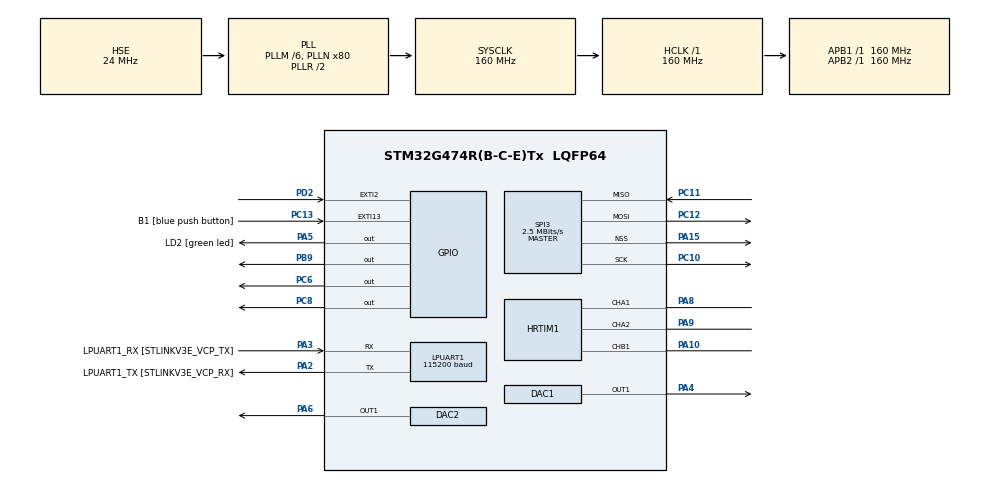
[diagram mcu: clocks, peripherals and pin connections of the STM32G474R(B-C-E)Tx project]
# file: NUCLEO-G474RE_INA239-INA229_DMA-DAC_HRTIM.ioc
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DAC1.DAC_Trigger_OUT1-DAC_OUT1=DAC_TRIGGER_T6_TRGO
Dma.DAC1_CH1.3.Direction=DMA_MEMORY_TO_PERIPH
Dma.DAC1_CH1.3.EventEnable=DISABLE
Dma.DAC1_CH1.3.Instance=DMA1_Channel4
Dma.DAC1_CH1.3.MemDataAlignment=DMA_MDATAALIGN_HALFWORD
Dma.DAC1_CH1.3.MemInc=DMA_MINC_ENABLE
Dma.DAC1_CH1.3.Mode=DMA_CIRCULAR
Dma.DAC1_CH1.3.PeriphDataAlignment=DMA_PDATAALIGN_WORD
Dma.DAC1_CH1.3.PeriphInc=DMA_PINC_DISABLE
Dma.DAC1_CH1.3.Polarity=HAL_DMAMUX_REQ_GEN_RISING
Dma.DAC1_CH1.3.Priority=DMA_PRIORITY_LOW
Dma.DAC1_CH1.3.RequestNumber=1
Dma.DAC1_CH1.3.SignalID=NONE
Dma.DAC1_CH1.3.SyncEnable=DISABLE
Dma.DAC1_CH1.3.SyncPolarity=HAL_DMAMUX_SYNC_NO_EVENT
Dma.DAC1_CH1.3.SyncRequestNumber=1
Dma.DAC1_CH1.3.SyncSignalID=NONE
Dma.LPUART1_RX.2.Direction=DMA_PERIPH_TO_MEMORY
Dma.LPUART1_RX.2.EventEnable=DISABLE
Dma.LPUART1_RX.2.Instance=DMA1_Channel3
Dma.LPUART1_RX.2.MemDataAlignment=DMA_MDATAALIGN_BYTE
Dma.LPUART1_RX.2.MemInc=DMA_MINC_ENABLE
Dma.LPUART1_RX.2.Mode=DMA_CIRCULAR
Dma.LPUART1_RX.2.PeriphDataAlignment=DMA_PDATAALIGN_BYTE
Dma.LPUART1_RX.2.PeriphInc=DMA_PINC_DISABLE
Dma.LPUART1_RX.2.Polarity=HAL_DMAMUX_REQ_GEN_RISING
Dma.LPUART1_RX.2.Priority=DMA_PRIORITY_LOW
Dma.LPUART1_RX.2.RequestNumber=1
Dma.LPUART1_RX.2.SignalID=NONE
Dma.LPUART1_RX.2.SyncEnable=DISABLE
Dma.LPUART1_RX.2.SyncPolarity=HAL_DMAMUX_SYNC_NO_EVENT
Dma.LPUART1_RX.2.SyncRequestNumber=1
Dma.LPUART1_RX.2.SyncSignalID=NONE
Dma.Request0=SPI3_TX
Dma.Request1=SPI3_RX
Dma.Request2=LPUART1_RX
Dma.Request3=DAC1_CH1
Dma.SPI3_RX.1.Direction=DMA_PERIPH_TO_MEMORY
Dma.SPI3_RX.1.EventEnable=DISABLE
Dma.SPI3_RX.1.Instance=DMA1_Channel1
Dma.SPI3_RX.1.MemDataAlignment=DMA_MDATAALIGN_BYTE
Dma.SPI3_RX.1.MemInc=DMA_MINC_ENABLE
Dma.SPI3_RX.1.Mode=DMA_NORMAL
Dma.SPI3_RX.1.PeriphDataAlignment=DMA_PDATAALIGN_BYTE
Dma.SPI3_RX.1.PeriphInc=DMA_PINC_DISABLE
Dma.SPI3_RX.1.Polarity=HAL_DMAMUX_REQ_GEN_RISING
Dma.SPI3_RX.1.Priority=DMA_PRIORITY_HIGH
Dma.SPI3_RX.1.RequestNumber=1
Dma.SPI3_RX.1.SignalID=NONE
Dma.SPI3_RX.1.SyncEnable=DISABLE
Dma.SPI3_RX.1.SyncPolarity=HAL_DMAMUX_SYNC_NO_EVENT
Dma.SPI3_RX.1.SyncRequestNumber=1
Dma.SPI3_RX.1.SyncSignalID=NONE
Dma.SPI3_TX.0.Direction=DMA_MEMORY_TO_PERIPH
Dma.SPI3_TX.0.EventEnable=DISABLE
Dma.SPI3_TX.0.Instance=DMA1_Channel2
Dma.SPI3_TX.0.MemDataAlignment=DMA_MDATAALIGN_BYTE
Dma.SPI3_TX.0.MemInc=DMA_MINC_ENABLE
Dma.SPI3_TX.0.Mode=DMA_NORMAL
Dma.SPI3_TX.0.PeriphDataAlignment=DMA_PDATAALIGN_BYTE
Dma.SPI3_TX.0.PeriphInc=DMA_PINC_DISABLE
Dma.SPI3_TX.0.Polarity=HAL_DMAMUX_REQ_GEN_RISING
Dma.SPI3_TX.0.Priority=DMA_PRIORITY_LOW
Dma.SPI3_TX.0.RequestNumber=1
Dma.SPI3_TX.0.SignalID=NONE
Dma.SPI3_TX.0.SyncEnable=DISABLE
Dma.SPI3_TX.0.SyncPolarity=HAL_DMAMUX_SYNC_NO_EVENT
Dma.SPI3_TX.0.SyncRequestNumber=1
Dma.SPI3_TX.0.SyncSignalID=NONE
HRTIM1.CompareUnit1-MasterTimer=HRTIM_COMPAREUNIT_1
HRTIM1.CompareUnit1-Output_TA1TA2=HRTIM_COMPAREUNIT_1
HRTIM1.CompareUnit1-Output_TB1=HRTIM_COMPAREUNIT_1
HRTIM1.CompareUnit2-MasterTimer=HRTIM_COMPAREUNIT_2
HRTIM1.CompareUnit2-Output_TA1TA2=HRTIM_COMPAREUNIT_2
HRTIM1.CompareUnit3-Output_TA1TA2=HRTIM_COMPAREUNIT_3
HRTIM1.CompareUnit4-Output_TA1TA2=HRTIM_COMPAREUNIT_4
HRTIM1.Event_EEV1=__NULL
HRTIM1.InterleavedMode-MasterTimer=HRTIM_INTERLEAVED_MODE_DUAL
HRTIM1.InterleavedMode-Output_TA1TA2=HRTIM_INTERLEAVED_MODE_QUAD
HRTIM1.InterleavedMode-Output_TB1=HRTIM_INTERLEAVED_MODE_DUAL
HRTIM1.NumberResetSource1-Output_TA1TA2=1
HRTIM1.NumberResetSource1-Output_TB1=1
HRTIM1.NumberResetSource2_TA=1
HRTIM1.NumberSetSource1-Output_TA1TA2=1
HRTIM1.NumberSetSource1-Output_TB1=1
HRTIM1.NumberSetSource2_TA=1
HRTIM1.Periode_MASTER=51200
HRTIM1.Periode_TA=51200
HRTIM1.Periode_TB=51200
HRTIM1.PrescalerRatio_MASTER=HRTIM_PRESCALERRATIO_MUL32
HRTIM1.PrescalerRatio_TA=HRTIM_PRESCALERRATIO_MUL32
HRTIM1.ResetOutput1_Source1-Output_TA1TA2=HRTIM_OUTPUTRESET_TIMCMP1
HRTIM1.ResetOutput1_Source1-Output_TB1=HRTIM_OUTPUTRESET_TIMCMP1
HRTIM1.ResetOutput2_Source1-Output_TA1TA2=HRTIM_OUTPUTRESET_TIMCMP3
HRTIM1.SetOutput1_Source1-Output_TA1TA2=HRTIM_OUTPUTSET_TIMPER
HRTIM1.SetOutput1_Source1-Output_TB1=HRTIM_OUTPUTSET_TIMPER
HRTIM1.SetOutput2_Source1-Output_TA1TA2=HRTIM_OUTPUTSET_TIMCMP2
HRTIM1.UpDownMode-Output_TA1TA2=HRTIM_TIMERUPDOWNMODE_UP
HRTIM1.UpDownMode-Output_TB1=HRTIM_TIMERUPDOWNMODE_UP
LPUART1.BaudRate=115200
Mcu.Family=STM32G4
Mcu.Name=STM32G474R(B-C-E)Tx
Mcu.Package=LQFP64
NVIC.DMA1_Channel1_IRQn=true\:0\:0\:false\:false\:true\:false\:true\:true
NVIC.DMA1_Channel2_IRQn=true\:1\:0\:true\:false\:true\:false\:true\:true
NVIC.DMA1_Channel3_IRQn=true\:2\:0\:true\:false\:true\:false\:true\:true
NVIC.DMA1_Channel4_IRQn=true\:0\:0\:false\:false\:false\:false\:false\:true
NVIC.EXTI15_10_IRQn=true\:0\:0\:false\:false\:true\:true\:true\:true
NVIC.EXTI2_IRQn=true\:1\:0\:true\:false\:true\:true\:true\:true
NVIC.LPUART1_IRQn=true\:0\:0\:false\:false\:true\:true\:true\:true
NVIC.PriorityGroup=NVIC_PRIORITYGROUP_4
PA10.Mode=Output_TB1
PA10.Signal=HRTIM1_CHB1
PA13.GPIO_Label=T_SWDIO
PA13.Mode=Trace_Asynchronous_SW
PA13.Signal=SYS_JTMS-SWDIO
PA14.GPIO_Label=T_SWCLK
PA14.Mode=Trace_Asynchronous_SW
PA14.Signal=SYS_JTCK-SWCLK
PA15.Mode=NSS_Signal_Hard_Output
PA15.Signal=SPI3_NSS
PA2.GPIO_Label=LPUART1_TX [STLINKV3E_VCP_RX]
PA2.Mode=Asynchronous
PA2.Signal=LPUART1_TX
PA3.GPIO_Label=LPUART1_RX [STLINKV3E_VCP_TX]
PA3.Mode=Asynchronous
PA3.Signal=LPUART1_RX
PA4.Signal=COMP_DAC11_group
PA5.GPIO_Label=LD2 [green led]
PA5.Signal=GPIO_Output
PA6.Signal=COMP_DAC21_group
PA8.Mode=Output_TA1TA2
PA8.Signal=HRTIM1_CHA1
PA9.Mode=Output_TA1TA2
PA9.Signal=HRTIM1_CHA2
PB3.GPIO_Label=T_SWO
PB3.Mode=Trace_Asynchronous_SW
PB3.Signal=SYS_JTDO-SWO
PB9.Signal=GPIO_Output
PC10.Mode=Full_Duplex_Master
PC10.Signal=SPI3_SCK
PC11.Mode=Full_Duplex_Master
PC11.Signal=SPI3_MISO
PC12.Mode=Full_Duplex_Master
PC12.Signal=SPI3_MOSI
PC13.GPIO_Label=B1 [blue push button]
PC13.Signal=GPXTI13
PC14-OSC32_IN.Mode=LSE-External-Oscillator
PC14-OSC32_IN.Signal=RCC_OSC32_IN
PC15-OSC32_OUT.Mode=LSE-External-Oscillator
PC15-OSC32_OUT.Signal=RCC_OSC32_OUT
PC6.Signal=GPIO_Output
PC8.Signal=GPIO_Output
PD2.GPIO_ModeDefaultEXTI=GPIO_MODE_IT_FALLING
PD2.Signal=GPXTI2
PF0-OSC_IN.Mode=HSE-External-Oscillator
PF0-OSC_IN.Signal=RCC_OSC_IN
PF1-OSC_OUT.Mode=HSE-External-Oscillator
PF1-OSC_OUT.Signal=RCC_OSC_OUT
ProjectManager.HeapSize=0x200
ProjectManager.StackSize=0x400
ProjectManager.TargetToolchain=STM32CubeIDE
RCC.ADC12Freq_Value=160000000
RCC.ADC345Freq_Value=160000000
RCC.AHBFreq_Value=160000000
RCC.APB1Freq_Value=160000000
RCC.APB1TimFreq_Value=160000000
RCC.APB2Freq_Value=160000000
RCC.APB2TimFreq_Value=160000000
RCC.CortexFreq_Value=160000000
RCC.EXTERNAL_CLOCK_VALUE=12288000
RCC.HCLKFreq_Value=160000000
RCC.HSE_VALUE=24000000
RCC.HSI48_VALUE=48000000
RCC.HSI_VALUE=16000000
RCC.PLLM=RCC_PLLM_DIV6
RCC.PLLN=80
RCC.PLLSourceVirtual=RCC_PLLSOURCE_HSE
RCC.RTCClockSelection=RCC_RTCCLKSOURCE_LSE
RCC.SYSCLKFreq_VALUE=160000000
RCC.SYSCLKSource=RCC_SYSCLKSOURCE_PLLCLK
RCC.USBFreq_Value=160000000
RCC.VCOOutputFreq_Value=320000000
SH.COMP_DAC11_group.0=DAC1_OUT1,DAC_OUT1
SH.COMP_DAC21_group.0=DAC2_OUT1,DAC_OUT1
SPI3.BaudRatePrescaler=SPI_BAUDRATEPRESCALER_64
SPI3.CLKPolarity=SPI_POLARITY_HIGH
SPI3.CalculateBaudRate=2.5 MBits/s
SPI3.DataSize=SPI_DATASIZE_8BIT
SPI3.Direction=SPI_DIRECTION_2LINES
SPI3.Mode=SPI_MODE_MASTER
SPI3.NSSPMode=SPI_NSS_PULSE_DISABLE
SPI3.VirtualNSS=VM_NSSHARD
SPI3.VirtualType=VM_MASTER
TIM6.AutoReloadPreload=TIM_AUTORELOAD_PRELOAD_ENABLE
TIM6.PeriodNoDither=10-1
TIM6.Prescaler=16-1
TIM6.TIM_MasterOutputTrigger=TIM_TRGO_UPDATE
VP_HRTIM1_VS_hrtimMasterTimerNoOutput.Mode=MasterTimer
VP_SYS_VS_DBSignals.Mode=DisableDeadBatterySignals
VP_TIM6_VS_ClockSourceINT.Mode=Enable_Timer
board=NUCLEO-G474RE

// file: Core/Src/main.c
/* USER CODE BEGIN Header */
/**
 ******************************************************************************
 * @file           : main.c
 * @brief          : Main program body
 ******************************************************************************
 * @attention
 *
 * Copyright (c) 2022 STMicroelectronics.
 * All rights reserved.
 *
 * This software is licensed under terms that can be found in the LICENSE file
 * in the root directory of this software component.
 * If no LICENSE file comes with this software, it is provided AS-IS.
 *
 ******************************************************************************
 */
/* USER CODE END Header */
#include "main.h"

/* USER CODE BEGIN Includes */

#include "ina229.h"
#include "VT_INA229.h"
#include <stdio.h>
#include "pulsating_sine.h"
#include "stm32g4xx_hal_dma.h"

/* USER CODE END Includes */

DAC_HandleTypeDef hdac1;
DAC_HandleTypeDef hdac2;
DMA_HandleTypeDef hdma_dac1_ch1;

HRTIM_HandleTypeDef hhrtim1;

UART_HandleTypeDef hlpuart1;
DMA_HandleTypeDef hdma_lpuart1_rx;

SPI_HandleTypeDef hspi3;
DMA_HandleTypeDef hdma_spi3_tx;
DMA_HandleTypeDef hdma_spi3_rx;

TIM_HandleTypeDef htim6;

/* USER CODE BEGIN PV */

/* Buffer used for transmission */
uint8_t aTxBuffer[21];

/* Buffer used for reception */
uint8_t aRxBuffer[21];

// for 0V - 160V variable output PWM
volatile uint16_t duty_cycle = 0;
uint16_t duty_cycle_increase = 0;

// push button
uint8_t button_pressed = 0;

// SPI transmit data INA239/229
extern uint8_t INA229_msg_lenght_cntr, INA229_msg_lenght_cntr_old;
extern uint8_t INA229_send_packet[70], INA229_send_packet_decoder[70];
extern uint8_t INA229_recv_packet[70], INA229_recv_packet_decoder[70];

uint8_t INA229_decodedAddress, INA229_decoded_Reg, INA229_decoded_Command;

extern uint16_t INA229_REG_CONFIG_val;
extern uint16_t INA229_REG_ADC_CONFIG_val;
extern uint16_t INA229_REG_SHUNT_CAL_val;
extern uint16_t INA229_REG_SHUNT_TEMPCO_val;
extern uint32_t INA229_REG_VSHUNT_val;
extern uint32_t INA229_REG_VBUS_val;
extern uint16_t INA229_REG_DIETEMP_val;
extern uint32_t INA229_REG_CURRENT_val;
extern uint32_t INA229_REG_POWER_val;
extern uint64_t INA229_REG_ENERGY_val;
extern uint64_t INA229_REG_CHARGE_val;
extern uint16_t INA229_REG_DIAG_ALRT_val;
extern uint16_t INA229_REG_SOVL_val;
extern uint16_t INA229_REG_SUVL_val;
extern uint16_t INA229_REG_BOVL_val;
extern uint16_t INA229_REG_BUVL_val;
extern uint16_t INA229_REG_TEMP_LIMIT_val;
extern uint16_t INA229_REG_PWR_LIMIT_val;
extern uint16_t INA229_REG_MANUFACTURER_ID_val;
extern uint16_t INA229_REG_DEVICE_ID_val;

volatile uint8_t HAL_SPI_TxRxCpltCallback_finished = 1;

uint8_t INA239decodedAddress, INA239decodedReg, INA239decodedCommand;

// UART Variables
uint8_t UartRxBuffer[1];

/* USER CODE END PV */

void SystemClock_Config(void);
static void MX_GPIO_Init(void);
static void MX_DMA_Init(void);
static void MX_SPI3_Init(void);
static void MX_LPUART1_UART_Init(void);
static void MX_DAC1_Init(void);
static void MX_TIM6_Init(void);
static void MX_DAC2_Init(void);
static void MX_HRTIM1_Init(void);
/* USER CODE BEGIN PFP */

void SPI_DMA_TXRX(void);
extern void VT_INA229_ReadAllReg(void);
extern void VT_INA229_ReadRegPartial1(void);
extern void VT_INA229_ResetVars(void);
extern uint16_t combine_2_bytes(uint16_t high_byte, uint16_t low_byte);
extern uint32_t combine_3_bytes(uint32_t high_byte, uint32_t mid_byte, uint32_t low_byte);
extern uint64_t combine_5_bytes(uint64_t highhigh_byte, uint64_t high_byte, uint64_t mid_byte, uint64_t low_byte, uint64_t lowlow_byte);

/* USER CODE END PFP */

int main(void)
{

  /* MCU Configuration--------------------------------------------------------*/

  /* Reset of all peripherals, Initializes the Flash interface and the Systick. */
  HAL_Init();

  /* Configure the system clock */
  SystemClock_Config();

  /* Initialize all configured peripherals */
  MX_GPIO_Init();
  MX_DMA_Init();
  MX_SPI3_Init();
  MX_LPUART1_UART_Init();
  MX_DAC1_Init();
  MX_TIM6_Init();
  MX_DAC2_Init();
  MX_HRTIM1_Init();
  /* USER CODE BEGIN 2 */

	printf("Starting >> NUCLEO-G474RE_INA239-INA229 \n");

	for(uint16_t cntr = 0; cntr < 10000; cntr++)
	{
		pulsating_sine[cntr] = pulsating_sine[cntr] - 4095;
	}

//	for(uint16_t cntr = 0; cntr < 10000; cntr++)
//	{
//		printf("pulsating_sine [%d] = %d \n", cntr, pulsating_sine[cntr]);
//	}

	if(HAL_OK != HAL_DAC_Start_DMA(&hdac1, DAC_CHANNEL_1,
			(uint32_t*)pulsating_sine, 10000, DAC_ALIGN_12B_R))
	{
		/* Start DMA Error */
		Error_Handler();
	}

	/*##- Enable TIM peripheral counter ######################################*/
	if(HAL_OK != HAL_TIM_Base_Start(&htim6))
	{
		Error_Handler();
	}

	if (HAL_UART_Receive_DMA(&hlpuart1, (uint8_t *)UartRxBuffer, 1) != HAL_OK)
	{
		Error_Handler();
	}

	VT_INA229_ResetVars();

	printf("Ending   >> NUCLEO-G474RE_INA239-INA229 \n");

  /* USER CODE END 2 */

  /* Infinite loop */
  /* USER CODE BEGIN WHILE */
	while (1) {

		HAL_GPIO_TogglePin(GPIOA, GPIO_PIN_5);
		HAL_Delay(50);

    /* USER CODE END WHILE */

	}
}

void SystemClock_Config(void)
{
  RCC_OscInitTypeDef RCC_OscInitStruct = {0};
  RCC_ClkInitTypeDef RCC_ClkInitStruct = {0};

  /** Configure the main internal regulator output voltage
  */
  HAL_PWREx_ControlVoltageScaling(PWR_REGULATOR_VOLTAGE_SCALE1_BOOST);

  /** Initializes the RCC Oscillators according to the specified parameters
  * in the RCC_OscInitTypeDef structure.
  */
  RCC_OscInitStruct.OscillatorType = RCC_OSCILLATORTYPE_HSE;
  RCC_OscInitStruct.HSEState = RCC_HSE_ON;
  RCC_OscInitStruct.PLL.PLLState = RCC_PLL_ON;
  RCC_OscInitStruct.PLL.PLLSource = RCC_PLLSOURCE_HSE;
  RCC_OscInitStruct.PLL.PLLM = RCC_PLLM_DIV6;
  RCC_OscInitStruct.PLL.PLLN = 80;
  RCC_OscInitStruct.PLL.PLLP = RCC_PLLP_DIV2;
  RCC_OscInitStruct.PLL.PLLQ = RCC_PLLQ_DIV2;
  RCC_OscInitStruct.PLL.PLLR = RCC_PLLR_DIV2;
  if (HAL_RCC_OscConfig(&RCC_OscInitStruct) != HAL_OK)
  {
    Error_Handler();
  }

  /** Initializes the CPU, AHB and APB buses clocks
  */
  RCC_ClkInitStruct.ClockType = RCC_CLOCKTYPE_HCLK|RCC_CLOCKTYPE_SYSCLK
                              |RCC_CLOCKTYPE_PCLK1|RCC_CLOCKTYPE_PCLK2;
  RCC_ClkInitStruct.SYSCLKSource = RCC_SYSCLKSOURCE_PLLCLK;
  RCC_ClkInitStruct.AHBCLKDivider = RCC_SYSCLK_DIV1;
  RCC_ClkInitStruct.APB1CLKDivider = RCC_HCLK_DIV1;
  RCC_ClkInitStruct.APB2CLKDivider = RCC_HCLK_DIV1;

  if (HAL_RCC_ClockConfig(&RCC_ClkInitStruct, FLASH_LATENCY_4) != HAL_OK)
  {
    Error_Handler();
  }
}

static void MX_DAC1_Init(void)
{

  DAC_ChannelConfTypeDef sConfig = {0};

  /** DAC Initialization
  */
  hdac1.Instance = DAC1;
  if (HAL_DAC_Init(&hdac1) != HAL_OK)
  {
    Error_Handler();
  }

  /** DAC channel OUT1 config
  */
  sConfig.DAC_HighFrequency = DAC_HIGH_FREQUENCY_INTERFACE_MODE_AUTOMATIC;
  sConfig.DAC_DMADoubleDataMode = DISABLE;
  sConfig.DAC_SignedFormat = DISABLE;
  sConfig.DAC_SampleAndHold = DAC_SAMPLEANDHOLD_DISABLE;
  sConfig.DAC_Trigger = DAC_TRIGGER_T6_TRGO;
  sConfig.DAC_Trigger2 = DAC_TRIGGER_NONE;
  sConfig.DAC_OutputBuffer = DAC_OUTPUTBUFFER_ENABLE;
  sConfig.DAC_ConnectOnChipPeripheral = DAC_CHIPCONNECT_EXTERNAL;
  sConfig.DAC_UserTrimming = DAC_TRIMMING_FACTORY;
  if (HAL_DAC_ConfigChannel(&hdac1, &sConfig, DAC_CHANNEL_1) != HAL_OK)
  {
    Error_Handler();
  }

}

static void MX_DAC2_Init(void)
{

  DAC_ChannelConfTypeDef sConfig = {0};

  /** DAC Initialization
  */
  hdac2.Instance = DAC2;
  if (HAL_DAC_Init(&hdac2) != HAL_OK)
  {
    Error_Handler();
  }

  /** DAC channel OUT1 config
  */
  sConfig.DAC_HighFrequency = DAC_HIGH_FREQUENCY_INTERFACE_MODE_AUTOMATIC;
  sConfig.DAC_DMADoubleDataMode = DISABLE;
  sConfig.DAC_SignedFormat = DISABLE;
  sConfig.DAC_SampleAndHold = DAC_SAMPLEANDHOLD_DISABLE;
  sConfig.DAC_Trigger = DAC_TRIGGER_NONE;
  sConfig.DAC_Trigger2 = DAC_TRIGGER_NONE;
  sConfig.DAC_OutputBuffer = DAC_OUTPUTBUFFER_ENABLE;
  sConfig.DAC_ConnectOnChipPeripheral = DAC_CHIPCONNECT_EXTERNAL;
  sConfig.DAC_UserTrimming = DAC_TRIMMING_FACTORY;
  if (HAL_DAC_ConfigChannel(&hdac2, &sConfig, DAC_CHANNEL_1) != HAL_OK)
  {
    Error_Handler();
  }

}

static void MX_HRTIM1_Init(void)
{

  HRTIM_TimeBaseCfgTypeDef pTimeBaseCfg = {0};
  HRTIM_TimerCfgTypeDef pTimerCfg = {0};
  HRTIM_CompareCfgTypeDef pCompareCfg = {0};
  HRTIM_TimerCtlTypeDef pTimerCtl = {0};
  HRTIM_OutputCfgTypeDef pOutputCfg = {0};

  hhrtim1.Instance = HRTIM1;
  hhrtim1.Init.HRTIMInterruptResquests = HRTIM_IT_NONE;
  hhrtim1.Init.SyncOptions = HRTIM_SYNCOPTION_NONE;
  if (HAL_HRTIM_Init(&hhrtim1) != HAL_OK)
  {
    Error_Handler();
  }
  if (HAL_HRTIM_DLLCalibrationStart(&hhrtim1, HRTIM_CALIBRATIONRATE_3) != HAL_OK)
  {
    Error_Handler();
  }
  if (HAL_HRTIM_PollForDLLCalibration(&hhrtim1, 10) != HAL_OK)
  {
    Error_Handler();
  }
  pTimeBaseCfg.Period = 51200;
  pTimeBaseCfg.RepetitionCounter = 0x00;
  pTimeBaseCfg.PrescalerRatio = HRTIM_PRESCALERRATIO_MUL32;
  pTimeBaseCfg.Mode = HRTIM_MODE_CONTINUOUS;
  if (HAL_HRTIM_TimeBaseConfig(&hhrtim1, HRTIM_TIMERINDEX_MASTER, &pTimeBaseCfg) != HAL_OK)
  {
    Error_Handler();
  }
  pTimerCfg.InterruptRequests = HRTIM_MASTER_IT_NONE;
  pTimerCfg.DMARequests = HRTIM_MASTER_DMA_NONE;
  pTimerCfg.DMASrcAddress = 0x0000;
  pTimerCfg.DMADstAddress = 0x0000;
  pTimerCfg.DMASize = 0x1;
  pTimerCfg.HalfModeEnable = HRTIM_HALFMODE_DISABLED;
  pTimerCfg.InterleavedMode = HRTIM_INTERLEAVED_MODE_DUAL;
  pTimerCfg.StartOnSync = HRTIM_SYNCSTART_DISABLED;
  pTimerCfg.ResetOnSync = HRTIM_SYNCRESET_DISABLED;
  pTimerCfg.DACSynchro = HRTIM_DACSYNC_NONE;
  pTimerCfg.PreloadEnable = HRTIM_PRELOAD_DISABLED;
  pTimerCfg.UpdateGating = HRTIM_UPDATEGATING_INDEPENDENT;
  pTimerCfg.BurstMode = HRTIM_TIMERBURSTMODE_MAINTAINCLOCK;
  pTimerCfg.RepetitionUpdate = HRTIM_UPDATEONREPETITION_DISABLED;
  pTimerCfg.ReSyncUpdate = HRTIM_TIMERESYNC_UPDATE_UNCONDITIONAL;
  if (HAL_HRTIM_WaveformTimerConfig(&hhrtim1, HRTIM_TIMERINDEX_MASTER, &pTimerCfg) != HAL_OK)
  {
    Error_Handler();
  }
  pCompareCfg.CompareValue = 0xFFDF;
  if (HAL_HRTIM_WaveformCompareConfig(&hhrtim1, HRTIM_TIMERINDEX_MASTER, HRTIM_COMPAREUNIT_2, &pCompareCfg) != HAL_OK)
  {
    Error_Handler();
  }
  if (HAL_HRTIM_TimeBaseConfig(&hhrtim1, HRTIM_TIMERINDEX_TIMER_A, &pTimeBaseCfg) != HAL_OK)
  {
    Error_Handler();
  }
  pTimerCtl.UpDownMode = HRTIM_TIMERUPDOWNMODE_UP;
  pTimerCtl.TrigHalf = HRTIM_TIMERTRIGHALF_DISABLED;
  pTimerCtl.GreaterCMP3 = HRTIM_TIMERGTCMP3_EQUAL;
  pTimerCtl.GreaterCMP1 = HRTIM_TIMERGTCMP1_EQUAL;
  pTimerCtl.DualChannelDacEnable = HRTIM_TIMER_DCDE_DISABLED;
  if (HAL_HRTIM_WaveformTimerControl(&hhrtim1, HRTIM_TIMERINDEX_TIMER_A, &pTimerCtl) != HAL_OK)
  {
    Error_Handler();
  }
  pTimerCfg.InterruptRequests = HRTIM_TIM_IT_NONE;
  pTimerCfg.DMARequests = HRTIM_TIM_DMA_NONE;
  pTimerCfg.InterleavedMode = HRTIM_INTERLEAVED_MODE_QUAD;
  pTimerCfg.PushPull = HRTIM_TIMPUSHPULLMODE_DISABLED;
  pTimerCfg.FaultEnable = HRTIM_TIMFAULTENABLE_NONE;
  pTimerCfg.FaultLock = HRTIM_TIMFAULTLOCK_READWRITE;
  pTimerCfg.DeadTimeInsertion = HRTIM_TIMDEADTIMEINSERTION_DISABLED;
  pTimerCfg.DelayedProtectionMode = HRTIM_TIMER_A_B_C_DELAYEDPROTECTION_DISABLED;
  pTimerCfg.UpdateTrigger = HRTIM_TIMUPDATETRIGGER_NONE;
  pTimerCfg.ResetTrigger = HRTIM_TIMRESETTRIGGER_NONE;
  pTimerCfg.ResetUpdate = HRTIM_TIMUPDATEONRESET_DISABLED;
  if (HAL_HRTIM_WaveformTimerConfig(&hhrtim1, HRTIM_TIMERINDEX_TIMER_A, &pTimerCfg) != HAL_OK)
  {
    Error_Handler();
  }
  pTimerCfg.InterleavedMode = HRTIM_INTERLEAVED_MODE_DUAL;
  if (HAL_HRTIM_WaveformTimerConfig(&hhrtim1, HRTIM_TIMERINDEX_TIMER_B, &pTimerCfg) != HAL_OK)
  {
    Error_Handler();
  }
  pCompareCfg.AutoDelayedMode = HRTIM_AUTODELAYEDMODE_REGULAR;
  pCompareCfg.AutoDelayedTimeout = 0x0000;

  if (HAL_HRTIM_WaveformCompareConfig(&hhrtim1, HRTIM_TIMERINDEX_TIMER_A, HRTIM_COMPAREUNIT_4, &pCompareCfg) != HAL_OK)
  {
    Error_Handler();
  }
  pOutputCfg.Polarity = HRTIM_OUTPUTPOLARITY_HIGH;
  pOutputCfg.SetSource = HRTIM_OUTPUTSET_TIMPER;
  pOutputCfg.ResetSource = HRTIM_OUTPUTRESET_TIMCMP1;
  pOutputCfg.IdleMode = HRTIM_OUTPUTIDLEMODE_NONE;
  pOutputCfg.IdleLevel = HRTIM_OUTPUTIDLELEVEL_INACTIVE;
  pOutputCfg.FaultLevel = HRTIM_OUTPUTFAULTLEVEL_NONE;
  pOutputCfg.ChopperModeEnable = HRTIM_OUTPUTCHOPPERMODE_DISABLED;
  pOutputCfg.BurstModeEntryDelayed = HRTIM_OUTPUTBURSTMODEENTRY_REGULAR;
  if (HAL_HRTIM_WaveformOutputConfig(&hhrtim1, HRTIM_TIMERINDEX_TIMER_A, HRTIM_OUTPUT_TA1, &pOutputCfg) != HAL_OK)
  {
    Error_Handler();
  }
  if (HAL_HRTIM_WaveformOutputConfig(&hhrtim1, HRTIM_TIMERINDEX_TIMER_B, HRTIM_OUTPUT_TB1, &pOutputCfg) != HAL_OK)
  {
    Error_Handler();
  }
  pOutputCfg.SetSource = HRTIM_OUTPUTSET_TIMCMP2;
  pOutputCfg.ResetSource = HRTIM_OUTPUTRESET_TIMCMP3;
  if (HAL_HRTIM_WaveformOutputConfig(&hhrtim1, HRTIM_TIMERINDEX_TIMER_A, HRTIM_OUTPUT_TA2, &pOutputCfg) != HAL_OK)
  {
    Error_Handler();
  }
  if (HAL_HRTIM_TimeBaseConfig(&hhrtim1, HRTIM_TIMERINDEX_TIMER_B, &pTimeBaseCfg) != HAL_OK)
  {
    Error_Handler();
  }
  if (HAL_HRTIM_WaveformTimerControl(&hhrtim1, HRTIM_TIMERINDEX_TIMER_B, &pTimerCtl) != HAL_OK)
  {
    Error_Handler();
  }
  HAL_HRTIM_MspPostInit(&hhrtim1);

}

static void MX_LPUART1_UART_Init(void)
{

  hlpuart1.Instance = LPUART1;
  hlpuart1.Init.BaudRate = 115200;
  hlpuart1.Init.WordLength = UART_WORDLENGTH_8B;
  hlpuart1.Init.StopBits = UART_STOPBITS_1;
  hlpuart1.Init.Parity = UART_PARITY_NONE;
  hlpuart1.Init.Mode = UART_MODE_TX_RX;
  hlpuart1.Init.HwFlowCtl = UART_HWCONTROL_NONE;
  hlpuart1.Init.OneBitSampling = UART_ONE_BIT_SAMPLE_DISABLE;
  hlpuart1.Init.ClockPrescaler = UART_PRESCALER_DIV1;
  hlpuart1.AdvancedInit.AdvFeatureInit = UART_ADVFEATURE_NO_INIT;
  if (HAL_UART_Init(&hlpuart1) != HAL_OK)
  {
    Error_Handler();
  }
  if (HAL_UARTEx_SetTxFifoThreshold(&hlpuart1, UART_TXFIFO_THRESHOLD_1_8) != HAL_OK)
  {
    Error_Handler();
  }
  if (HAL_UARTEx_SetRxFifoThreshold(&hlpuart1, UART_RXFIFO_THRESHOLD_1_8) != HAL_OK)
  {
    Error_Handler();
  }
  if (HAL_UARTEx_DisableFifoMode(&hlpuart1) != HAL_OK)
  {
    Error_Handler();
  }

}

static void MX_SPI3_Init(void)
{

  /* SPI3 parameter configuration*/
  hspi3.Instance = SPI3;
  hspi3.Init.Mode = SPI_MODE_MASTER;
  hspi3.Init.Direction = SPI_DIRECTION_2LINES;
  hspi3.Init.DataSize = SPI_DATASIZE_8BIT;
  hspi3.Init.CLKPolarity = SPI_POLARITY_HIGH;
  hspi3.Init.CLKPhase = SPI_PHASE_1EDGE;
  hspi3.Init.NSS = SPI_NSS_HARD_OUTPUT;
  hspi3.Init.BaudRatePrescaler = SPI_BAUDRATEPRESCALER_64;
  hspi3.Init.FirstBit = SPI_FIRSTBIT_MSB;
  hspi3.Init.TIMode = SPI_TIMODE_DISABLE;
  hspi3.Init.CRCCalculation = SPI_CRCCALCULATION_DISABLE;
  hspi3.Init.CRCPolynomial = 7;
  hspi3.Init.CRCLength = SPI_CRC_LENGTH_DATASIZE;
  hspi3.Init.NSSPMode = SPI_NSS_PULSE_DISABLE;
  if (HAL_SPI_Init(&hspi3) != HAL_OK)
  {
    Error_Handler();
  }

}

static void MX_TIM6_Init(void)
{

  TIM_MasterConfigTypeDef sMasterConfig = {0};

  htim6.Instance = TIM6;
  htim6.Init.Prescaler = 16-1;
  htim6.Init.CounterMode = TIM_COUNTERMODE_UP;
  htim6.Init.Period = 9;
  htim6.Init.AutoReloadPreload = TIM_AUTORELOAD_PRELOAD_ENABLE;
  if (HAL_TIM_Base_Init(&htim6) != HAL_OK)
  {
    Error_Handler();
  }
  sMasterConfig.MasterOutputTrigger = TIM_TRGO_UPDATE;
  sMasterConfig.MasterSlaveMode = TIM_MASTERSLAVEMODE_DISABLE;
  if (HAL_TIMEx_MasterConfigSynchronization(&htim6, &sMasterConfig) != HAL_OK)
  {
    Error_Handler();
  }

}

static void MX_DMA_Init(void)
{

  /* DMA controller clock enable */
  __HAL_RCC_DMAMUX1_CLK_ENABLE();
  __HAL_RCC_DMA1_CLK_ENABLE();

  /* DMA interrupt init */
  /* DMA1_Channel1_IRQn interrupt configuration */
  HAL_NVIC_SetPriority(DMA1_Channel1_IRQn, 0, 0);
  HAL_NVIC_EnableIRQ(DMA1_Channel1_IRQn);
  /* DMA1_Channel2_IRQn interrupt configuration */
  HAL_NVIC_SetPriority(DMA1_Channel2_IRQn, 1, 0);
  HAL_NVIC_EnableIRQ(DMA1_Channel2_IRQn);
  /* DMA1_Channel3_IRQn interrupt configuration */
  HAL_NVIC_SetPriority(DMA1_Channel3_IRQn, 2, 0);
  HAL_NVIC_EnableIRQ(DMA1_Channel3_IRQn);
  /* DMA1_Channel4_IRQn interrupt configuration */
  HAL_NVIC_SetPriority(DMA1_Channel4_IRQn, 0, 0);
  HAL_NVIC_EnableIRQ(DMA1_Channel4_IRQn);

}

static void MX_GPIO_Init(void)
{
  GPIO_InitTypeDef GPIO_InitStruct = {0};

  /* GPIO Ports Clock Enable */
  __HAL_RCC_GPIOC_CLK_ENABLE();
  __HAL_RCC_GPIOF_CLK_ENABLE();
  __HAL_RCC_GPIOA_CLK_ENABLE();
  __HAL_RCC_GPIOD_CLK_ENABLE();
  __HAL_RCC_GPIOB_CLK_ENABLE();

  /*Configure GPIO pin Output Level */
  HAL_GPIO_WritePin(LD2_GPIO_Port, LD2_Pin, GPIO_PIN_RESET);

  /*Configure GPIO pin Output Level */
  HAL_GPIO_WritePin(GPIOC, GPIO_PIN_6|GPIO_PIN_8, GPIO_PIN_RESET);

  /*Configure GPIO pin Output Level */
  HAL_GPIO_WritePin(GPIOB, GPIO_PIN_9, GPIO_PIN_RESET);

  /*Configure GPIO pin : B1_Pin */
  GPIO_InitStruct.Pin = B1_Pin;
  GPIO_InitStruct.Mode = GPIO_MODE_IT_RISING;
  GPIO_InitStruct.Pull = GPIO_NOPULL;
  HAL_GPIO_Init(B1_GPIO_Port, &GPIO_InitStruct);

  /*Configure GPIO pin : LD2_Pin */
  GPIO_InitStruct.Pin = LD2_Pin;
  GPIO_InitStruct.Mode = GPIO_MODE_OUTPUT_PP;
  GPIO_InitStruct.Pull = GPIO_NOPULL;
  GPIO_InitStruct.Speed = GPIO_SPEED_FREQ_LOW;
  HAL_GPIO_Init(LD2_GPIO_Port, &GPIO_InitStruct);

  /*Configure GPIO pins : PC6 PC8 */
  GPIO_InitStruct.Pin = GPIO_PIN_6|GPIO_PIN_8;
  GPIO_InitStruct.Mode = GPIO_MODE_OUTPUT_PP;
  GPIO_InitStruct.Pull = GPIO_NOPULL;
  GPIO_InitStruct.Speed = GPIO_SPEED_FREQ_LOW;
  HAL_GPIO_Init(GPIOC, &GPIO_InitStruct);

  /*Configure GPIO pin : PD2 */
  GPIO_InitStruct.Pin = GPIO_PIN_2;
  GPIO_InitStruct.Mode = GPIO_MODE_IT_FALLING;
  GPIO_InitStruct.Pull = GPIO_NOPULL;
  HAL_GPIO_Init(GPIOD, &GPIO_InitStruct);

  /*Configure GPIO pin : PB9 */
  GPIO_InitStruct.Pin = GPIO_PIN_9;
  GPIO_InitStruct.Mode = GPIO_MODE_OUTPUT_PP;
  GPIO_InitStruct.Pull = GPIO_NOPULL;
  GPIO_InitStruct.Speed = GPIO_SPEED_FREQ_LOW;
  HAL_GPIO_Init(GPIOB, &GPIO_InitStruct);

  /* EXTI interrupt init*/
  HAL_NVIC_SetPriority(EXTI2_IRQn, 1, 0);
  HAL_NVIC_EnableIRQ(EXTI2_IRQn);

  HAL_NVIC_SetPriority(EXTI15_10_IRQn, 0, 0);
  HAL_NVIC_EnableIRQ(EXTI15_10_IRQn);

}

/* USER CODE BEGIN 4 */

void SPI_DMA_TXRX(void)
{

	GPIOC->BSRR = (1<<8); // Set

	printf("SPI_DMA_TXRX \n");

	HAL_SPI_TxRxCpltCallback_finished = 0;

	for(uint16_t cntr = 0; cntr < INA229_msg_lenght_cntr ; cntr++)
	{
		printf("INA229_send_packet[%d] = %x \n", cntr , INA229_send_packet[cntr]);
	}

	//	for (uint8_t cntr = 0; cntr < INA229_msg_lenght_cntr; cntr++)
	//	{
	//
	//		if (INA229_send_packet_decoder[cntr] != 0) // decode
	//		{
	//			INA229_decodedAddress = INA229_send_packet_decoder[cntr] - 1;
	//			printf("INA229_send_packet_decoder[%d] = %x \n", cntr , INA229_decodedAddress);
	//			switch(INA229_decodedAddress)
	//			{
	//			case INA229_REG_CONFIG: // 00h, 2 bytes
	//				INA229_REG_CONFIG_val = combine_2_bytes(INA229_recv_packet[cntr + 1], INA229_recv_packet[cntr + 2]);
	//				printf("INA229_REG_CONFIG_val = %x \n", INA229_REG_CONFIG_val);
	//				break;
	//			case INA229_REG_ADC_CONFIG: // 01h, 2 bytes
	//				INA229_REG_ADC_CONFIG_val = combine_2_bytes(INA229_recv_packet[cntr + 1], INA229_recv_packet[cntr + 2]);
	//				printf("INA229_REG_ADC_CONFIG_val = %x \n", INA229_REG_ADC_CONFIG_val);
	//				break;
	//			case INA229_REG_SHUNT_CAL: // 02h, 2 bytes
	//				INA229_REG_SHUNT_CAL_val = combine_2_bytes(INA229_recv_packet[cntr + 1], INA229_recv_packet[cntr + 2]);
	//				printf("INA229_REG_SHUNT_CAL_val = %x \n", INA229_REG_SHUNT_CAL_val);
	//				break;
	//			case INA229_REG_SHUNT_TEMPCO: // 03h, 2 bytes
	//				INA229_REG_SHUNT_TEMPCO_val = combine_2_bytes(INA229_recv_packet[cntr + 1], INA229_recv_packet[cntr + 2]);
	//				printf("INA229_REG_SHUNT_TEMPCO_val = %x \n", INA229_REG_SHUNT_TEMPCO_val);
	//				break;
	//			case INA229_REG_VSHUNT: // 04h, 3 bytes
	//				INA229_REG_VSHUNT_val = combine_3_bytes(INA229_recv_packet[cntr + 1], INA229_recv_packet[cntr + 2], INA229_recv_packet[cntr + 3]);
	//				printf("INA229_REG_VSHUNT_val = %x \n", INA229_REG_VSHUNT_val);
	//				break;
	//			case INA229_REG_VBUS: // 05h, 3 bytes
	//				INA229_REG_VBUS_val = combine_3_bytes(INA229_recv_packet[cntr + 1], INA229_recv_packet[cntr + 2], INA229_recv_packet[cntr + 3]);
	//				printf("INA229_REG_VBUS_val = %x \n", INA229_REG_VBUS_val);
	//				break;
	//			case INA229_REG_DIETEMP: //06h, 2 bytes
	//				INA229_REG_DIETEMP_val = combine_2_bytes(INA229_recv_packet[cntr + 1], INA229_recv_packet[cntr + 2]);
	//				printf("INA229_REG_DIETEMP_val = %x \n", INA229_REG_DIETEMP_val);
	//				break;
	//			case INA229_REG_CURRENT: // 07h, 3 bytes
	//				INA229_REG_CURRENT_val = combine_3_bytes(INA229_recv_packet[cntr + 1], INA229_recv_packet[cntr + 2], INA229_recv_packet[cntr + 3]);
	//				printf("INA229_REG_CURRENT_val = %x \n", INA229_REG_CURRENT_val);
	//				break;
	//			case INA229_REG_POWER: // 08h, 3 bytes
	//				INA229_REG_POWER_val = combine_3_bytes(INA229_recv_packet[cntr + 1], INA229_recv_packet[cntr + 2], INA229_recv_packet[cntr + 3]);
	//				printf("INA229_REG_POWER_val = %x \n", INA229_REG_POWER_val);
	//				break;
	//			case INA229_REG_ENERGY: // 09h, 5 bytes
	//				INA229_REG_ENERGY_val = combine_5_bytes(INA229_recv_packet[cntr + 1], INA229_recv_packet[cntr + 2], INA229_recv_packet[cntr + 3], INA229_recv_packet[cntr + 4], INA229_recv_packet[cntr + 5]);
	//				printf("INA229_REG_ENERGY_val = %x%08x \n", INA229_REG_ENERGY_val);
	//				break;
	//			case INA229_REG_CHARGE: // 0ah, 5 bytes
	//				INA229_REG_CHARGE_val = combine_5_bytes(INA229_recv_packet[cntr + 1], INA229_recv_packet[cntr + 2], INA229_recv_packet[cntr + 3], INA229_recv_packet[cntr + 4], INA229_recv_packet[cntr + 5]);
	//				printf("INA229_REG_CHARGE_val = %x%08x \n", INA229_REG_CHARGE_val);
	//				break;
	//			case INA229_REG_DIAG_ALRT: // 0bh
	//				INA229_REG_DIAG_ALRT_val = combine_2_bytes(INA229_recv_packet[cntr + 1], INA229_recv_packet[cntr + 2]);
	//				printf("INA229_REG_DIAG_ALRT_val = %x \n", INA229_REG_DIAG_ALRT_val);
	//				break;
	//			case INA229_REG_SOVL: // 0ch
	//				INA229_REG_SOVL_val = combine_2_bytes(INA229_recv_packet[cntr + 1], INA229_recv_packet[cntr + 2]);
	//				printf("INA229_REG_SOVL_val = %x \n", INA229_REG_SOVL_val);
	//				break;
	//			case INA229_REG_SUVL:
	//				INA229_REG_SUVL_val = combine_2_bytes(INA229_recv_packet[cntr + 1], INA229_recv_packet[cntr + 2]);
	//				printf("INA229_REG_SUVL_val = %x \n", INA229_REG_SUVL_val);
	//				break;
	//			case INA229_REG_BOVL:
	//				INA229_REG_BOVL_val = combine_2_bytes(INA229_recv_packet[cntr + 1], INA229_recv_packet[cntr + 2]);
	//				printf("INA229_REG_BOVL_val = %x \n", INA229_REG_BOVL_val);
	//				break;
	//			case INA229_REG_BUVL:
	//				INA229_REG_BUVL_val = combine_2_bytes(INA229_recv_packet[cntr + 1], INA229_recv_packet[cntr + 2]);
	//				printf("INA229_REG_BUVL_val = %x \n", INA229_REG_BUVL_val);
	//				break;
	//			case INA229_REG_TEMP_LIMIT:
	//				INA229_REG_TEMP_LIMIT_val = combine_2_bytes(INA229_recv_packet[cntr + 1], INA229_recv_packet[cntr + 2]);
	//				printf("INA229_REG_TEMP_LIMIT_val = %x \n", INA229_REG_TEMP_LIMIT_val);
	//				break;
	//			case INA229_REG_PWR_LIMIT:
	//				INA229_REG_PWR_LIMIT_val = combine_2_bytes(INA229_recv_packet[cntr + 1], INA229_recv_packet[cntr + 2]);
	//				printf("INA229_REG_PWR_LIMIT_val = %x \n", INA229_REG_PWR_LIMIT_val);
	//				break;
	//			case INA229_REG_MANUFACTURER_ID:
	//				INA229_REG_MANUFACTURER_ID_val = combine_2_bytes(INA229_recv_packet[cntr + 1], INA229_recv_packet[cntr + 2]);
	//				printf("INA229_REG_MANUFACTURER_ID_val = %x \n", INA229_REG_MANUFACTURER_ID_val);
	//				break;
	//			case INA229_REG_DEVICE_ID:
	//				INA229_REG_DEVICE_ID_val = combine_2_bytes(INA229_recv_packet[cntr + 1], INA229_recv_packet[cntr + 2]);
	//				printf("INA229_REG_DEVICE_ID_val = %x \n", INA229_REG_DEVICE_ID_val);
	//				break;
	//			default:
	//				break;
	//
	//			}
	//
	//		} else
	//		{
	//			printf("INA229_send_packet[%d] = %x \n", cntr , INA229_send_packet[cntr]);
	//		}
	//	}

	// SPI DMA TX-RX
	switch (HAL_SPI_TransmitReceive_DMA(&hspi3, (uint8_t*) INA229_send_packet, (uint8_t*) INA229_recv_packet, INA229_msg_lenght_cntr))
	{
	case HAL_OK:
		/* Communication is completed ___________________________________________ */
		break;
	case HAL_TIMEOUT:
		/* An Error Occur ______________________________________________________ */
		printf("SPI HAL_TIMEOUT \n");
	case HAL_ERROR:
		/* Call Timeout Handler */
		printf("SPI HAL_ERROR \n");
		Error_Handler();
		break;
	default:
		break;
	}

	GPIOC->BRR = (1<<8); // Reset

	while(!HAL_SPI_TxRxCpltCallback_finished)
	{
	}

}

void HAL_GPIO_EXTI_Callback(uint16_t GPIO_Pin)
{
	/* Prevent unused argument(s) compilation warning */
	UNUSED(GPIO_Pin);

	/* NOTE: This function should not be modified, when the callback is needed,
           the HAL_GPIO_EXTI_Callback could be implemented in the user file
	 */

	GPIOB->BSRR = (1<<9); // Set
	//	VT_INA229_ReadReg(INA229_REG_VSHUNT);
	//	SPI_DMA_TXRX();
	GPIOB->BRR = (1<<9); // Reset

}

void HAL_SPI_TxRxCpltCallback(SPI_HandleTypeDef *hspi)
{
	/* Prevent unused argument(s) compilation warning */
	UNUSED(hspi);

	/* NOTE : This function should not be modified, when the callback is needed,
            the HAL_SPI_RxCpltCallback should be implemented in the user file
	 */
	GPIOC->BSRR = (1<<6); // Set

	printf("HAL_SPI_TxRxCpltCallback \n");

	for (uint8_t cntr = 0; cntr < INA229_msg_lenght_cntr; cntr++)
	{

		if (INA229_send_packet_decoder[cntr] != 0) // decode
		{
			INA229_decodedAddress = INA229_send_packet_decoder[cntr] - 1;
			printf("INA229_send_packet_decoder[%d] = %x \n", cntr , INA229_decodedAddress);
			switch(INA229_decodedAddress)
			{
			case INA229_REG_CONFIG: // 00h, 2 bytes
				INA229_REG_CONFIG_val = combine_2_bytes(INA229_recv_packet[cntr + 1], INA229_recv_packet[cntr + 2]);
				printf("INA229_REG_CONFIG_val = %x \n", INA229_REG_CONFIG_val);
				break;
			case INA229_REG_ADC_CONFIG: // 01h, 2 bytes
				INA229_REG_ADC_CONFIG_val = combine_2_bytes(INA229_recv_packet[cntr + 1], INA229_recv_packet[cntr + 2]);
				printf("INA229_REG_ADC_CONFIG_val = %x \n", INA229_REG_ADC_CONFIG_val);
				break;
			case INA229_REG_SHUNT_CAL: // 02h, 2 bytes
				INA229_REG_SHUNT_CAL_val = combine_2_bytes(INA229_recv_packet[cntr + 1], INA229_recv_packet[cntr + 2]);
				printf("INA229_REG_SHUNT_CAL_val = %x \n", INA229_REG_SHUNT_CAL_val);
				break;
			case INA229_REG_SHUNT_TEMPCO: // 03h, 2 bytes
				INA229_REG_SHUNT_TEMPCO_val = combine_2_bytes(INA229_recv_packet[cntr + 1], INA229_recv_packet[cntr + 2]);
				printf("INA229_REG_SHUNT_TEMPCO_val = %x \n", INA229_REG_SHUNT_TEMPCO_val);
				break;
			case INA229_REG_VSHUNT: // 04h, 3 bytes
				INA229_REG_VSHUNT_val = combine_3_bytes(INA229_recv_packet[cntr + 1], INA229_recv_packet[cntr + 2], INA229_recv_packet[cntr + 3]);
				printf("INA229_REG_VSHUNT_val = %x \n", INA229_REG_VSHUNT_val);
				break;
			case INA229_REG_VBUS: // 05h, 3 bytes
				INA229_REG_VBUS_val = combine_3_bytes(INA229_recv_packet[cntr + 1], INA229_recv_packet[cntr + 2], INA229_recv_packet[cntr + 3]);
				printf("INA229_REG_VBUS_val = %x \n", INA229_REG_VBUS_val);
				break;
			case INA229_REG_DIETEMP: //06h, 2 bytes
				INA229_REG_DIETEMP_val = combine_2_bytes(INA229_recv_packet[cntr + 1], INA229_recv_packet[cntr + 2]);
				printf("INA229_REG_DIETEMP_val = %x \n", INA229_REG_DIETEMP_val);
				break;
			case INA229_REG_CURRENT: // 07h, 3 bytes
				INA229_REG_CURRENT_val = combine_3_bytes(INA229_recv_packet[cntr + 1], INA229_recv_packet[cntr + 2], INA229_recv_packet[cntr + 3]);
				printf("INA229_REG_CURRENT_val = %x \n", INA229_REG_CURRENT_val);
				break;
			case INA229_REG_POWER: // 08h, 3 bytes
				INA229_REG_POWER_val = combine_3_bytes(INA229_recv_packet[cntr + 1], INA229_recv_packet[cntr + 2], INA229_recv_packet[cntr + 3]);
				printf("INA229_REG_POWER_val = %x \n", INA229_REG_POWER_val);
				break;
			case INA229_REG_ENERGY: // 09h, 5 bytes
				INA229_REG_ENERGY_val = combine_5_bytes(INA229_recv_packet[cntr + 1], INA229_recv_packet[cntr + 2], INA229_recv_packet[cntr + 3], INA229_recv_packet[cntr + 4], INA229_recv_packet[cntr + 5]);
				printf("INA229_REG_ENERGY_val = %x%08x \n", INA229_REG_ENERGY_val);
				break;
			case INA229_REG_CHARGE: // 0ah, 5 bytes
				INA229_REG_CHARGE_val = combine_5_bytes(INA229_recv_packet[cntr + 1], INA229_recv_packet[cntr + 2], INA229_recv_packet[cntr + 3], INA229_recv_packet[cntr + 4], INA229_recv_packet[cntr + 5]);
				printf("INA229_REG_CHARGE_val = %x%08x \n", INA229_REG_CHARGE_val);
				break;
			case INA229_REG_DIAG_ALRT: // 0bh
				INA229_REG_DIAG_ALRT_val = combine_2_bytes(INA229_recv_packet[cntr + 1], INA229_recv_packet[cntr + 2]);
				printf("INA229_REG_DIAG_ALRT_val = %x \n", INA229_REG_DIAG_ALRT_val);
				break;
			case INA229_REG_SOVL: // 0ch
				INA229_REG_SOVL_val = combine_2_bytes(INA229_recv_packet[cntr + 1], INA229_recv_packet[cntr + 2]);
				printf("INA229_REG_SOVL_val = %x \n", INA229_REG_SOVL_val);
				break;
			case INA229_REG_SUVL:
				INA229_REG_SUVL_val = combine_2_bytes(INA229_recv_packet[cntr + 1], INA229_recv_packet[cntr + 2]);
				printf("INA229_REG_SUVL_val = %x \n", INA229_REG_SUVL_val);
				break;
			case INA229_REG_BOVL:
				INA229_REG_BOVL_val = combine_2_bytes(INA229_recv_packet[cntr + 1], INA229_recv_packet[cntr + 2]);
				printf("INA229_REG_BOVL_val = %x \n", INA229_REG_BOVL_val);
				break;
			case INA229_REG_BUVL:
				INA229_REG_BUVL_val = combine_2_bytes(INA229_recv_packet[cntr + 1], INA229_recv_packet[cntr + 2]);
				printf("INA229_REG_BUVL_val = %x \n", INA229_REG_BUVL_val);
				break;
			case INA229_REG_TEMP_LIMIT:
				INA229_REG_TEMP_LIMIT_val = combine_2_bytes(INA229_recv_packet[cntr + 1], INA229_recv_packet[cntr + 2]);
				printf("INA229_REG_TEMP_LIMIT_val = %x \n", INA229_REG_TEMP_LIMIT_val);
				break;
			case INA229_REG_PWR_LIMIT:
				INA229_REG_PWR_LIMIT_val = combine_2_bytes(INA229_recv_packet[cntr + 1], INA229_recv_packet[cntr + 2]);
				printf("INA229_REG_PWR_LIMIT_val = %x \n", INA229_REG_PWR_LIMIT_val);
				break;
			case INA229_REG_MANUFACTURER_ID:
				INA229_REG_MANUFACTURER_ID_val = combine_2_bytes(INA229_recv_packet[cntr + 1], INA229_recv_packet[cntr + 2]);
				printf("INA229_REG_MANUFACTURER_ID_val = %x \n", INA229_REG_MANUFACTURER_ID_val);
				break;
			case INA229_REG_DEVICE_ID:
				INA229_REG_DEVICE_ID_val = combine_2_bytes(INA229_recv_packet[cntr + 1], INA229_recv_packet[cntr + 2]);
				printf("INA229_REG_DEVICE_ID_val = %x \n", INA229_REG_DEVICE_ID_val);
				break;
			default:
				break;

			}

		} else
		{
			printf("INA229_recv_packet[%d] = %x \n", cntr , INA229_recv_packet[cntr]);
		}
	}

	HAL_SPI_TxRxCpltCallback_finished = 1;
	VT_INA229_ResetVars();

	GPIOC->BRR = (1<<6); // Reset
}

void HAL_UART_RxCpltCallback(UART_HandleTypeDef *huart)
{
	/* Prevent unused argument(s) compilation warning */
	UNUSED(huart);

	/* NOTE : This function should not be modified, when the callback is needed,
            the HAL_UART_RxCpltCallback can be implemented in the user file.
	 */
	HAL_GPIO_TogglePin(GPIOA, GPIO_PIN_5);

	//	printf("HAL_UART_RxCpltCallback = %x \n", UartRxBuffer[0]);

	switch(UartRxBuffer[0])
	{
	case 0x30: // 0
		INA229_Write_CONFIG(INA229_REG_CFG_RESET);
		SPI_DMA_TXRX();
		break;
	case 0x31: // 1
		VT_INA229_ReadAllReg();
		SPI_DMA_TXRX();
		break;
	case 0x32:
		INA229_Write_DIAG_ALERT(INA229_REG_DIAG_ALERT_CNVR);
		SPI_DMA_TXRX();
		//		INA229_Write_ADC_CONFIG(INA229_MODE_CONTINOUS_VSHUNT | INA229_VBUSCT_50 | INA229_VSHCT_50 | INA229_VTCT_50 | INA229_AVG_1);
		//		SPI_DMA_TXRX();
		//		for(uint16_t mS = 0; mS < 3; mS++)
		//		{
		//			for(uint16_t nS = 0; nS < 1000; nS++)
		//			{
		//				for(uint16_t i = 0; i < 13; i++)
		//				{}
		//			}
		//		}
		//		INA229_Write_DIAG_ALERT(INA229_REG_DIAG_ALERT_CNVR);
		//		SPI_DMA_TXRX();
		break;
	case 0x33:
		INA229_Write_ADC_CONFIG(INA229_MODE_CONTINOUS_VBUS_VSHUNT | INA229_VBUSCT_50 | INA229_VSHCT_50 | INA229_VTCT_50 | INA229_AVG_1);
		SPI_DMA_TXRX();
		//		for(uint16_t mS = 0; mS < 3; mS++)
		//		{
		//			for(uint16_t nS = 0; nS < 1000; nS++)
		//			{
		//				for(uint16_t i = 0; i < 13; i++)
		//				{}
		//			}
		//		}
		//		INA229_Write_DIAG_ALERT(INA229_REG_DIAG_ALERT_CNVR);
		//		SPI_DMA_TXRX();
		break;
	case 0x34:
		VT_INA229_ReadReg(INA229_REG_DIAG_ALRT);
		SPI_DMA_TXRX();
		break;
	case 0x35:
		VT_INA229_ReadReg(INA229_REG_VSHUNT);
		SPI_DMA_TXRX();
		break;
	case 0x36:
		VT_INA229_ReadReg(INA229_REG_VSHUNT);
		INA229_Write_DIAG_ALERT(INA229_REG_DIAG_ALERT_CNVR);
		SPI_DMA_TXRX();
		break;
	case 0x37:
		VT_INA229_ReadReg(INA229_REG_VSHUNT);
		INA229_Write_DIAG_ALERT(INA229_REG_DIAG_ALERT_CNVR | INA229_REG_DIAG_ALERT_CNVRF | INA229_REG_DIAG_ALERT_MEMSTAT);
		SPI_DMA_TXRX();
		break;
	case 0x38:
		printf("HAL_UART_RxCpltCallback = %x \n", UartRxBuffer[0]);
		break;
	case 0x39: // 9
		printf("case 0x39: \n");
		VT_INA229_ReadAllReg();
		SPI_DMA_TXRX();
		VT_INA229_ReadAllReg();
		SPI_DMA_TXRX();
		break;
	case 0x61: // a
		printf("HAL_UART_RxCpltCallback = %x \n", UartRxBuffer[0]);
		break;
	case 0x62: // b
		printf("HAL_UART_RxCpltCallback = %x \n", UartRxBuffer[0]);
		break;
	case 0x63: // c
		printf("HAL_UART_RxCpltCallback = %x \n", UartRxBuffer[0]);
		break;
	default: // None
		printf("No data found! \n");
		break;
	}

}

//void HAL_SPI_RxCpltCallback(SPI_HandleTypeDef *hspi)
//{
//	/* Prevent unused argument(s) compilation warning */
//	UNUSED(hspi);
//
//	/* NOTE : This function should not be modified, when the callback is needed,
//            the HAL_SPI_RxCpltCallback should be implemented in the user file
//	 */
//
//	printf("HAL_SPI_RxCpltCallback \n");
//
//}

//void HAL_SPI_RxHalfCpltCallback(SPI_HandleTypeDef *hspi)
//{
//	/* Prevent unused argument(s) compilation warning */
//	UNUSED(hspi);
//
//	/* NOTE : This function should not be modified, when the callback is needed,
//            the HAL_SPI_RxCpltCallback should be implemented in the user file
//	 */
//
//	printf("HAL_SPI_RxHalfCpltCallback \n");
//
//}

/* USER CODE END 4 */

void Error_Handler(void)
{
  /* USER CODE BEGIN Error_Handler_Debug */
	/* User can add his own implementation to report the HAL error return state */
	printf("Error_Handler \n");
	HAL_GPIO_WritePin(GPIOA, GPIO_PIN_5, SET);
	__disable_irq();
	while (1) {
	}
  /* USER CODE END Error_Handler_Debug */
}
